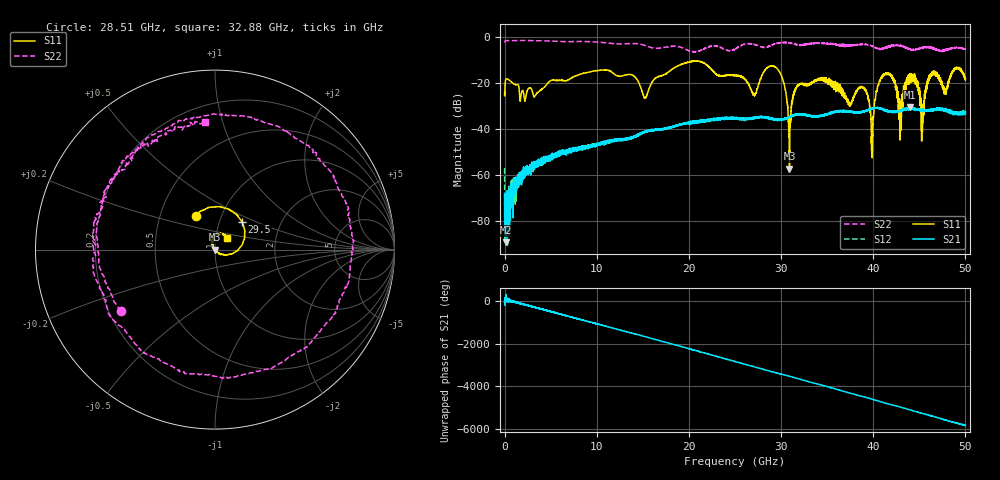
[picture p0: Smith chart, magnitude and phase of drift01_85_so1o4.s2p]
!Created with skrf (http://scikit-rf.org).
# Hz S RI R 50.0
!freq ReS11 ImS11 ReS21 ImS21 ReS12 ImS12 ReS22 ImS22
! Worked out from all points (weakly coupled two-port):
!   10001 points, 300 kHz to 50 GHz, reference 50 ohm
!   highest |S21| = -30.61 dB at 44.01 GHz (marker M1); lowest = -89.6 dB at 165.3 MHz (marker M2)
!   lowest |S11| = -57.4 dB at 30.91 GHz (marker M3), VSWR 1.00, Z = 49.9 - j0.0488 ohm
!   |S11| at or under -10 dB: start of sweep to end of sweep
!   |S22| runs from -6.4 to -1.3 dB; largest |S21 - S12| = 0.0039
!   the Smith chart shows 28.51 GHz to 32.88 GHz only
!   S11 on the Smith chart (normalised r, x): 28.51 GHz: 0.75, +0.30; 29.5 GHz: 1.28, +0.42; 32.88 GHz: 1.13, +0.15
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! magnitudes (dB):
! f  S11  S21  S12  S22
! 300 kHz  -24.0  -68.4  -57.1  -2.0
! 165.3 MHz  -18.2  -89.6  -81.8  -1.4
! 2.965 GHz  -23.0  -56.3  -57.6  -1.4
! 8.335 GHz  -15.9  -48.7  -48.3  -1.8
! 15.23 GHz  -26.6  -41.2  -41.3  -3.5
! 16.67 GHz  -17.1  -40.4  -40.3  -4.8
! 25 GHz  -16.5  -35.6  -35.3  -5.0
! 27.1 GHz  -25.2  -35.1  -35.2  -3.1
! 28.51 GHz  -13.3  -35.4  -35.2  -4.1
! 29.5 GHz  -13.3  -36.0  -36.2  -2.6
! 30.91 GHz  -57.4  -35.0  -34.7  -2.5
! 32.88 GHz  -20.7  -34.2  -34.3  -2.9
! 33.34 GHz  -19.7  -34.7  -34.3  -2.6
! 38.89 GHz  -21.7  -32.5  -32.6  -3.0
! 39.86 GHz  -47.2  -31.1  -31.1  -3.7
! 40.6 GHz  -20.3  -30.8  -30.9  -5.1
! 41.67 GHz  -15.6  -32.4  -32.4  -3.8
! 42.97 GHz  -28.2  -32.3  -32.0  -3.4
! 44.01 GHz  -16.8  -30.6  -31.2  -5.1
! 45.31 GHz  -39.8  -31.7  -32.0  -4.4
! 46.38 GHz  -15.6  -31.5  -31.7  -4.9
! 50 GHz  -18.1  -33.0  -33.2  -5.3
